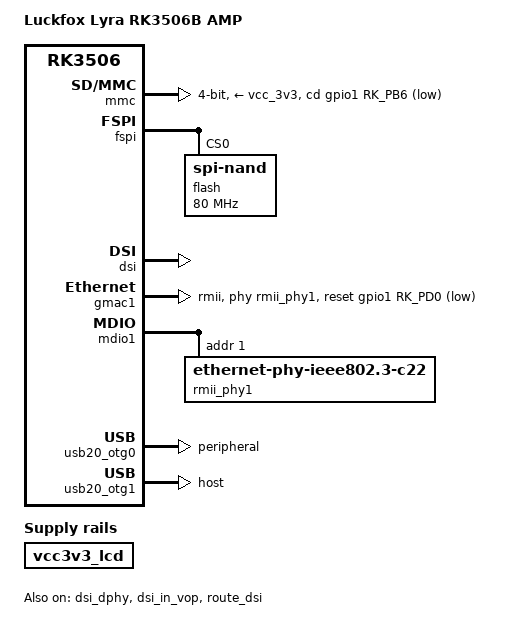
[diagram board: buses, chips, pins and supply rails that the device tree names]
// SPDX-License-Identifier: (GPL-2.0+ OR MIT)
/*
 * Copyright (c) 2024 Rockchip Electronics Co., Ltd.
 */

/dts-v1/;

#include "rk3506-luckfox-lyra-ultra.dtsi"
#include "rk3506-amp.dtsi"

/ {
	model = "Luckfox Lyra RK3506B AMP";
	compatible = "rockchip,rk3506g-demo-display-control", "rockchip,rk3506";

	chosen {
		bootargs = "earlycon=uart8250,mmio32,0xff0a0000 console=tty1 console=ttyFIQ0 root=ubi0:rootfs ubi.mtd=3 rootfstype=ubifs rootwait snd_aloop.index=7 snd_aloop.use_raw_jiffies=1";
	};

	dsm_sound: dsm-sound {
		status = "okay";
		compatible = "simple-audio-card";
		simple-audio-card,format = "i2s";
		simple-audio-card,mclk-fs = <256>;
		simple-audio-card,name = "rockchip-dsm-sound";
		simple-audio-card,bitclock-master = <&dsm_master>;
		simple-audio-card,frame-master = <&dsm_master>;
		simple-audio-card,cpu {
			sound-dai = <&sai3>;
		};
		dsm_master: simple-audio-card,codec {
			sound-dai = <&acdcdig_dsm>;
		};
	};

	vcc3v3_lcd: vcc3v3-lcd {
		status = "okay";
		compatible = "regulator-fixed";
		pinctrl-names = "default";
		pinctrl-0 = <&lcd_pwren_h>;
		regulator-name = "vcc3v3_lcd";
		regulator-always-on;
	};
};

/**********media**********/
&mmc {
	/* For SDMMC */
	max-frequency = <52000000>;
	bus-width = <4>;
	no-sdio;
	no-mmc;
	cap-mmc-highspeed;
	cap-sd-highspeed;
	cd-gpios = <&gpio1 RK_PB6 GPIO_ACTIVE_LOW>; //det
	disable-wp;
	//sd-uhs-sdr104;
	pinctrl-names = "default";
	pinctrl-0 = <&sdmmc_clk_pins &sdmmc_cmd_pins &sdmmc_bus4_pins &sdmmc_det &sdmmc_pwren>;
	vqmmc-supply = <&vcc_3v3>;
	vmmc-supply = <&vcc_3v3>;
	status = "okay";
};

&fspi {
	status = "okay";

	flash@0 {
		compatible = "spi-nand";
		reg = <0>;
		spi-max-frequency = <80000000>;
		spi-rx-bus-width = <4>;
		spi-tx-bus-width = <1>;
	};
};

/**********display**********/
&cma {
	size = <0x2000000>;
};

&dsi {
	status = "okay";
};

&dsi_dphy {
	status = "okay";
};

&dsi_in_vop {
	status = "okay";
};

&route_dsi {
	status = "okay";
};

&dsi_panel {
	power-supply = <&vcc3v3_lcd>;
};

/**********ethernet**********/
&gmac1 {
	phy-mode = "rmii";
	clock_in_out = "output";

	snps,reset-gpio = <&gpio1 RK_PD0 GPIO_ACTIVE_LOW>;
	snps,reset-active-low;
	snps,reset-delays-us = <0 20000 100000>;

	pinctrl-names = "default";
	pinctrl-0 = <&eth_rmii1_miim_pins &eth_rmii1_tx_bus2_pins &eth_rmii1_rx_bus2_pins &eth_rmii1_clk_pins>;

	phy-handle = <&rmii_phy1>;
	status = "okay";
};

&mdio1 {
	rmii_phy1: phy@1 {
		compatible = "ethernet-phy-ieee802.3-c22";
		reg = <0x1>;
	};
};

/**********usb**********/
&usb20_otg0 {
	dr_mode = "peripheral";
	status = "okay";
};

&usb20_otg1 {
	dr_mode = "host";
	status = "okay";
};

/**********Amp**********/
&reserved_memory {
	amp_reserved: amp@3e00000 {
		reg = <0x03e00000 0x100000>;
		no-map;
	};
};

/**********pinctrl**********/
&pinctrl {
	lcd {
		lcd_pwren_h: lcd-pwren-h {
			rockchip,pins = <1 RK_PC4 RK_FUNC_GPIO &pcfg_pull_up>;
		};
	};
};
